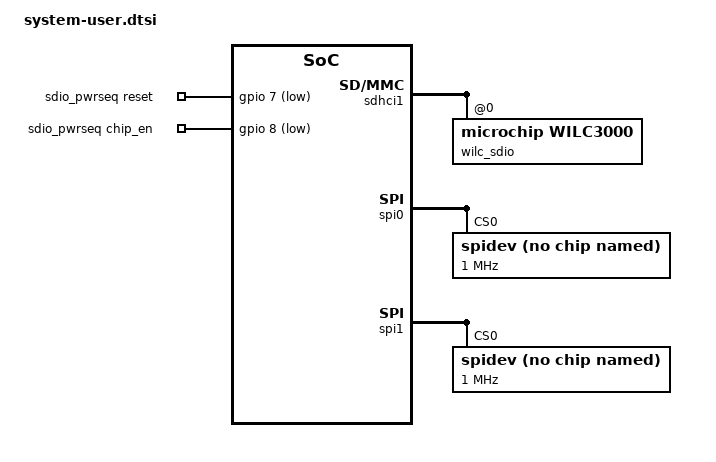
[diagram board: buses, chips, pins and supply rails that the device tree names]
/include/ "system-conf.dtsi"
/ {
	sdio_pwrseq: sdio_pwrseq {
		compatible = "mmc-pwrseq-simple";
		// MIO[7] RESETN for WILC3000 active low
		reset-gpios = <&gpio 7 1>;
		// requires a patched pwrseq_simple.c for WILC3000
		chip_en-gpios = <&gpio 8 1>;
        };

        // Remove V1 Power ON/OFF controller from U96 V1 DT
        /delete-node/ ltc2954;
};

&uart0 {
        // Remove TI child node from U96 V1 DT
        /delete-node/bluetooth;
};

&gpio {
        /delete-property/gpio-line-names;
};

&sdhci1 {
        max-frequency = <50000000>;
	// cap-power-off-card not compatible with WILC3000
        /delete-property/cap-power-off-card;
        wilc_sdio@1 {
                compatible = "microchip,wilc3000";
                reg = <0>;
                bus-width = <0x4>;
                status = "okay";
        };
        // Remove TI child node from U96 V1 DT
        /delete-node/wifi@2;
};

&spi0 {
        is-decoded-cs = <0>;
        num-cs = <1>;
        status = "okay";
        spidev@0x00 {
                compatible = "rohm,dh2228fv";
                spi-max-frequency = <1000000>;
                reg = <0>;
        };
};

&spi1 {
        is-decoded-cs = <0>;
        num-cs = <1>;
        status = "okay";
        spidev@0x00 {
                compatible = "rohm,dh2228fv";
                spi-max-frequency = <1000000>;
                reg = <0>;
        };
};

